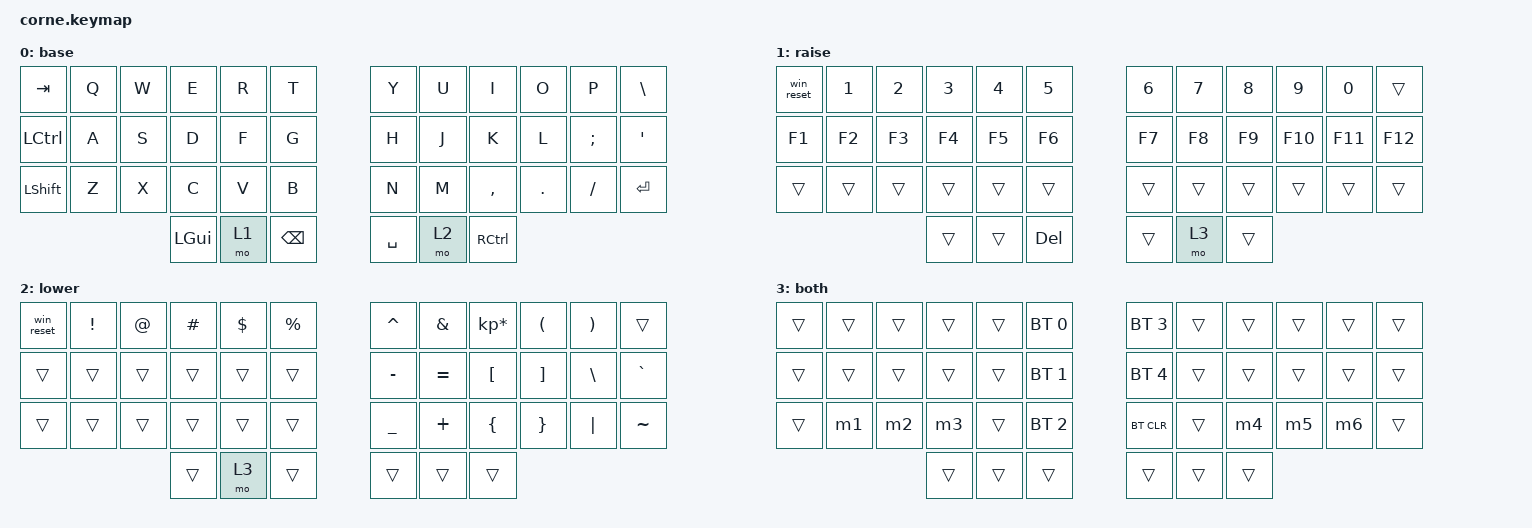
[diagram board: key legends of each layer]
/*
 * Copyright (c) 2020 The ZMK Contributors
 *
 * SPDX-License-Identifier: MIT
 */

#include <behaviors.dtsi>
#include <dt-bindings/zmk/bt.h>
#include <dt-bindings/zmk/keys.h>

// dt-formatter: indent = "  "
// dt-formatter: reindentMultilineIntegerCells = "dedent"

/ {
  behaviors {
    hm: homerow_mods {
      compatible = "zmk,behavior-hold-tap";
      label = "HOMEROW_MODS";
      #binding-cells = <2>;
      tapping-term-ms = <150>;
      quick-tap-ms = <0>;
      flavor = "tap-preferred";
      bindings =
        <&kp>,
        <&kp>;
    };
  };

  combos {
    compatible = "zmk,combos";

    tab {
      bindings = <&trans>;
      key-positions = <2 3>;
    };

    ctrl {
      bindings = <&kp LCTRL>;
      key-positions = <26 27>;
    };

    cmd {
      bindings = <&kp LCMD>;
      key-positions = <37 38>;
    };

    alt {
      bindings = <&kp LEFT_ALT>;
      key-positions = <39 40>;
    };

    shift {
      bindings = <&kp LSHIFT>;
      key-positions = <8 9>;
    };

    caps_word {
      bindings = <&caps_word>;
      key-positions = <17 18>;
    };

    delete {
      bindings = <&kp DEL>;
      key-positions = <32 33>;
    };
  };

  macros {
    m1: m1 {
      compatible = "zmk,behavior-macro";
      label = "M1";
      #binding-cells = <0>;
      bindings = <&none>;
    };
    m2: m2 {
      compatible = "zmk,behavior-macro";
      label = "M2";
      #binding-cells = <0>;
      bindings = <&none>;
    };
    m3: m3 {
      compatible = "zmk,behavior-macro";
      label = "M3";
      #binding-cells = <0>;
      bindings = <&none>;
    };
    m4: m4 {
      compatible = "zmk,behavior-macro";
      label = "M4";
      #binding-cells = <0>;
      bindings = <&none>;
    };
    m5: m5 {
      compatible = "zmk,behavior-macro";
      label = "M5";
      #binding-cells = <0>;
      bindings = <&none>;
    };
    m6: m6 {
      compatible = "zmk,behavior-macro";
      label = "M6";
      #binding-cells = <0>;
      bindings = <&none>;
    };
    win_reset: win_reset {
      compatible = "zmk,behavior-macro";
      label = "WIN_RESET";
      #binding-cells = <0>;
      bindings = <&kp RIGHT_CONTROL &kp RIGHT_ALT &kp DELETE>;
    };
  };

  keymap {
    compatible = "zmk,keymap";

    base {
      bindings = <
  &kp TAB  &kp Q  &kp W     &kp E  &kp R          &kp T        &kp Y  &kp U              &kp I    &kp O          &kp P   &kp BSLH
&kp LCTRL  &kp A  &kp S     &kp D  &kp F          &kp G        &kp H  &kp J              &kp K    &kp L  &kp SEMICOLON    &kp SQT
&kp LSHFT  &kp Z  &kp X     &kp C  &kp V          &kp B        &kp N  &kp M          &kp COMMA  &kp DOT       &kp FSLH  &kp ENTER
                         &kp LGUI  &mo 1  &kp BACKSPACE    &kp SPACE  &mo 2  &kp RIGHT_CONTROL
      >;
    };

    raise {
      bindings = <
&win_reset  &kp N1  &kp N2  &kp N3  &kp N4      &kp N5    &kp N6  &kp N7  &kp N8   &kp N9   &kp N0   &trans
    &kp F1  &kp F2  &kp F3  &kp F4  &kp F5      &kp F6    &kp F7  &kp F8  &kp F9  &kp F10  &kp F11  &kp F12
    &trans  &trans  &trans  &trans  &trans      &trans    &trans  &trans  &trans   &trans   &trans   &trans
                            &trans  &trans  &kp DELETE    &trans   &mo 3  &trans
      >;
    };

    lower {
      bindings = <
&win_reset  &kp EXCL  &kp AT  &kp HASH  &kp DLLR  &kp PRCNT    &kp CARET   &kp AMPS  &kp KP_MULTIPLY  &kp LPAR  &kp RPAR     &trans
    &trans    &trans  &trans    &trans    &trans     &trans    &kp MINUS  &kp EQUAL         &kp LBKT  &kp RBKT  &kp BSLH  &kp GRAVE
    &trans    &trans  &trans    &trans    &trans     &trans    &kp UNDER   &kp PLUS         &kp LBRC  &kp RBRC  &kp PIPE  &kp TILDE
                                &trans     &mo 3     &trans       &trans     &trans           &trans
      >;
    };

    both {
      bindings = <
&trans  &trans  &trans  &trans  &trans  &bt BT_SEL 0    &bt BT_SEL 3  &trans  &trans  &trans  &trans  &trans
&trans  &trans  &trans  &trans  &trans  &bt BT_SEL 1    &bt BT_SEL 4  &trans  &trans  &trans  &trans  &trans
&trans     &m1     &m2     &m3  &trans  &bt BT_SEL 2      &bt BT_CLR  &trans     &m4     &m5     &m6  &trans
                        &trans  &trans        &trans          &trans  &trans  &trans
      >;
    };
  };
};
